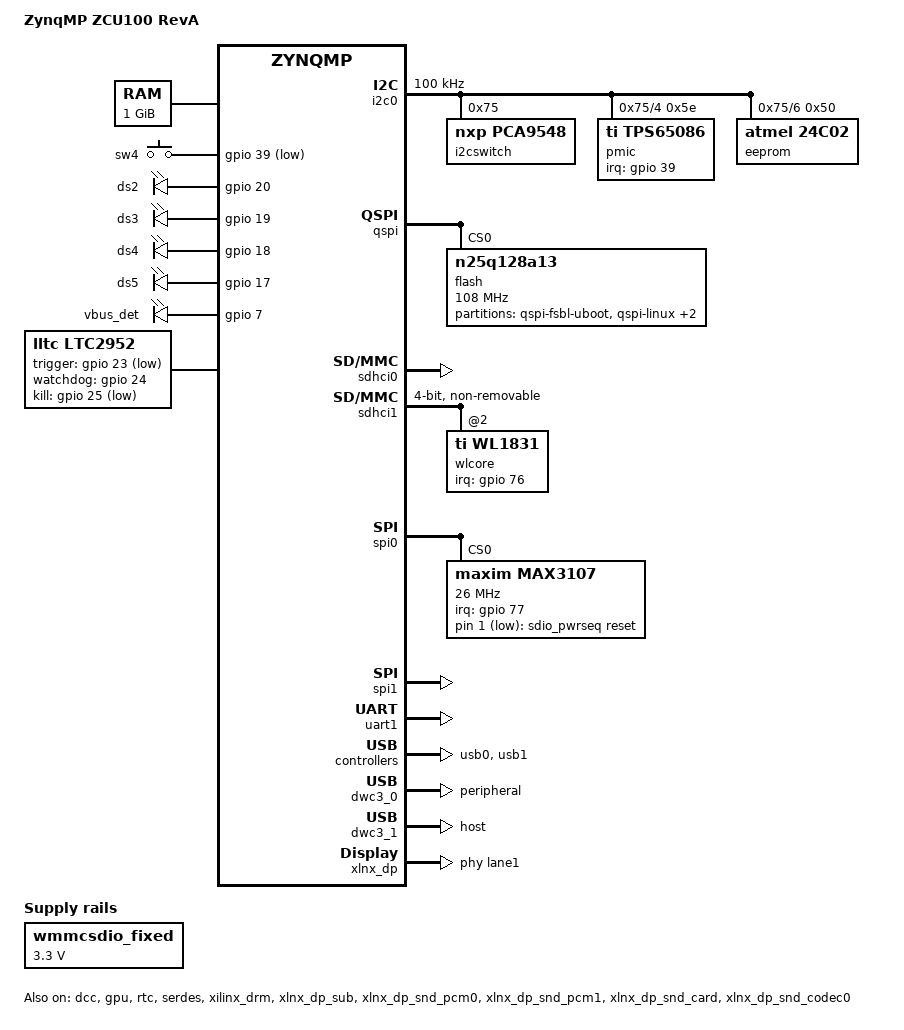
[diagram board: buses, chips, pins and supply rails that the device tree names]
/*
 * dts file for Xilinx ZynqMP ZCU100
 *
 * (C) Copyright 2016, Xilinx, Inc.
 *
 * Michal Simek <michal.simek@xilinx.com>
 * Nathalie Chan King Choy <nathalie@xilinx.com>
 *
 * SPDX-License-Identifier:	GPL-2.0+
 */

/dts-v1/;

#include "zynqmp.dtsi"
#include "zynqmp-clk-ccf.dtsi"
#include <dt-bindings/interrupt-controller/irq.h>
#include <dt-bindings/gpio/gpio.h>
#include <dt-bindings/phy/phy.h>

/ {
	model = "ZynqMP ZCU100 RevA";
	compatible = "xlnx,zynqmp-zcu100-revA", "xlnx,zynqmp-zcu100", "xlnx,zynqmp";

	aliases {
		gpio0 = &gpio;
		gpio1 = &max3107;
		i2c0 = &i2c0;
		rtc0 = &rtc;
		serial0 = &uart1;
		serial1 = &max3107;
		serial2 = &dcc;
		spi0 = &qspi;
		spi1 = &spi0;
		spi2 = &spi1;
		usb0 = &usb0;
		usb1 = &usb1;
		mmc0 = &sdhci0;
		mmc1 = &sdhci1;
	};

	chosen {
		bootargs = "earlycon";
		stdout-path = "serial0:115200n8";
	};

	memory@0 {
		device_type = "memory";
		reg = <0x0 0x0 0x0 0x40000000>;
	};

	gpio-keys {
		compatible = "gpio-keys";
		#address-cells = <1>;
		#size-cells = <0>;
		autorepeat;
		sw4 {
			label = "sw4";
			gpios = <&gpio 39 GPIO_ACTIVE_LOW>; /* shared with pmic IRQ */ /* uboot: gpio input 39 */
			linux,code = <108>; /* down */
			gpio-key,wakeup;
			autorepeat;
		};
	};

	leds {
		compatible = "gpio-leds";
		ds2 {
			label = "ds2";
			gpios = <&gpio 20 GPIO_ACTIVE_HIGH>; /* uboot: gpio toggle 20 */
			linux,default-trigger = "heartbeat";
		};

		ds3 {
			label = "ds3";
			gpios = <&gpio 19 GPIO_ACTIVE_HIGH>;
			linux,default-trigger = "phy0tx"; /* WLAN tx */
			default-state = "off";
		};

		ds4 {
			label = "ds4";
			gpios = <&gpio 18 GPIO_ACTIVE_HIGH>;
			linux,default-trigger = "phy0rx"; /* WLAN rx */
			default-state = "off";
		};

		ds5 {
			label = "ds5";
			gpios = <&gpio 17 GPIO_ACTIVE_HIGH>;
		};

		/* FIXME this is not correct - used fixed-regulator for it */
		vbus_det { /* U5 USB5744  VBUS detection via MIO7 */
			label = "vbus_det";
			gpios = <&gpio 7 GPIO_ACTIVE_HIGH>;
			default-state = "on";
		};
	};

	clk3_6: clk3_6 { /* for spi uart max3107 */
		compatible = "fixed-clock";
		#clock-cells = <0>;
		clock-frequency = <3600000>;
	};

	ltc2952: ltc2952 { /* U7 */
		compatible = "lltc,ltc2952";
		trigger-gpios = <&gpio 23 GPIO_ACTIVE_LOW>; /* INT line - input */
		watchdog-gpios = <&gpio 24 GPIO_ACTIVE_HIGH>; /* FIXME Bogus - set it up to max3107 */
		kill-gpios = <&gpio 25 GPIO_ACTIVE_LOW>; /* KILL signal - output */
	};

	wmmcsdio_fixed: fixedregulator-mmcsdio {
		compatible = "regulator-fixed";
		regulator-name = "wmmcsdio_fixed";
		regulator-min-microvolt = <3300000>;
		regulator-max-microvolt = <3300000>;
		regulator-always-on;
		regulator-boot-on;
	};

	sdio_pwrseq: sdio_pwrseq {
		compatible = "mmc-pwrseq-simple";
		reset-gpios = <&max3107 1 GPIO_ACTIVE_LOW>; /* WIFI_EN */
	};
};

&dcc {
	status = "okay";
};

&gpio {
	status = "okay";
};

&gpu {
	status = "okay";
};

&i2c0 {
	status = "okay";
	clock-frequency = <100000>;
	i2cswitch@75 { /* u11 */
		compatible = "nxp,pca9548";
		#address-cells = <1>;
		#size-cells = <0>;
		reg = <0x75>;
		i2csw_0: i2c@0 { /* i2c mw 75 0 1 */
			#address-cells = <1>;
			#size-cells = <0>;
			reg = <0>;
			/*
			 * LSEXP_I2C0
			 */
		};
		i2csw_1: i2c@1 { /* i2c mw 75 0 2 */
			#address-cells = <1>;
			#size-cells = <0>;
			reg = <1>;
			/*
			 * LSEXP_I2C1
			 */
		};
		i2csw_2: i2c@2 { /* i2c mw 75 0 4 */
			#address-cells = <1>;
			#size-cells = <0>;
			reg = <2>;
			/*
			 * HSEXP_I2C2
			 */
		};
		i2csw_3: i2c@3 { /* i2c mw 75 0 8 */
			#address-cells = <1>;
			#size-cells = <0>;
			reg = <3>;
			/*
			 * HSEXP_I2C3
			 */
		};
		i2csw_4: i2c@4 { /* i2c mw 75 0 10 */
			#address-cells = <1>;
			#size-cells = <0>;
			reg = <0x4>;

			/* Comment it out because will be pre-programmed
			   at the factory */

			pmic: tps65086x@5e { // Custom TI PMIC u33
				compatible = "ti,tps65086";
				reg = <0x5e>;
				interrupt-parent = <&gpio>;
				interrupts = <39 GPIO_ACTIVE_LOW>; /* shared with pmic IRQ */
				#gpio-cells = <2>;
				gpio-controller;

/*
				sys-supply = <&some_reg>;
				// spec 12V

				buck1 5V0
				buck2 PSINTLP (no idea)
				buck3 VCC_PSDDR 1V1
				buck4 3V3
				buck5 1V2
				buck6 VCC_PSAUX 1V8

				vin-sm0-supply = <&some_reg>;
				vin-sm1-supply = <&some_reg>;
				vin-sm2-supply = <&some_reg>;
				vinldo01-supply = <...>;
				vinldo23-supply = <...>;
				vinldo4-supply = <...>;
				vinldo678-supply = <...>;
				vinldo9-supply = <...>;

				regulators {
					sys_reg: sys {
					        regulator-name = "vdd_sys";
					        regulator-boot-on;
					        regulator-always-on;
					};

					sm0_reg: sm0 {
					        regulator-min-microvolt = < 725000>;
					        regulator-max-microvolt = <1500000>;
					        regulator-boot-on;
					        regulator-always-on;
					};

					sm1_reg: sm1 {
					        regulator-min-microvolt = < 725000>;
					        regulator-max-microvolt = <1500000>;
					        regulator-boot-on;
					        regulator-always-on;
					};

					sm2_reg: sm2 {
					        regulator-min-microvolt = <3000000>;
					        regulator-max-microvolt = <4550000>;
					        regulator-boot-on;
					        regulator-always-on;
					};

					ldo0_reg: ldo0 {
					        regulator-name = "PCIE CLK";
					        regulator-min-microvolt = <3300000>;
					        regulator-max-microvolt = <3300000>;
					};

					ldo1_reg: ldo1 {
					        regulator-min-microvolt = < 725000>;
					        regulator-max-microvolt = <1500000>;
					};

					ldo2_reg: ldo2 {
					        regulator-min-microvolt = < 725000>;
					        regulator-max-microvolt = <1500000>;
					};

					ldo3_reg: ldo3 {
					        regulator-min-microvolt = <1250000>;
					        regulator-max-microvolt = <3300000>;
					};

					ldo4_reg: ldo4 {
					        regulator-min-microvolt = <1700000>;
					        regulator-max-microvolt = <2475000>;
					};

					ldo5_reg: ldo5 {
					        regulator-min-microvolt = <1250000>;
					        regulator-max-microvolt = <3300000>;
					};

					ldo6_reg: ldo6 {
					        regulator-min-microvolt = <1250000>;
					        regulator-max-microvolt = <3300000>;
					};

					ldo7_reg: ldo7 {
					        regulator-min-microvolt = <1250000>;
					        regulator-max-microvolt = <3300000>;
					};

					ldo8_reg: ldo8 {
					        regulator-min-microvolt = <1250000>;
					        regulator-max-microvolt = <3300000>;
					};

					ldo9_reg: ldo9 {
					        regulator-min-microvolt = <1250000>;
					        regulator-max-microvolt = <3300000>;
					};

				// FIXME look at this one
					ldo_rtc {
						regulator-name = "vdd_rtc_out,vdd_cell";
						regulator-min-microvolt = <3300000>;
						regulator-max-microvolt = <3300000>;
						regulator-always-on;
					};
				};
				*/
			};
		};
		i2csw_5: i2c@5 { /* i2c mw 75 0 20 */
			#address-cells = <1>;
			#size-cells = <0>;
			reg = <5>;
			/*
			 * SYSMON
			 */
		};
		i2csw_6: i2c@6 { /* i2c mw 75 0 40 */
			#address-cells = <1>;
			#size-cells = <0>;
			reg = <6>;
			/*
			 * EEPROM with globally unique ID (will provide MAC address)
			 */
			eeprom@50 { /* u35 - 24aa02E48T */
				compatible = "atmel,24c02"; /* 8 blocks 50-57 - works */
				reg = <0x50>; /* low 3 bits: don't care */
			};
		};
		i2csw_7: i2c@7 { /* i2c mw 75 0 80 */
			#address-cells = <1>;
			#size-cells = <0>;
			reg = <7>;
			/*
			 * usb5744 - U5
			 * 100kHz - this is default freq for us
			 */
			/* FIXME 0x2c 0x2d - disabled because of SMBUS */
		};
	};
};

&qspi {
	status = "okay"; /* This device may be DNP for cost savings */
	flash@0 { /* single x4 - 16 MB flash at U13 */
		compatible = "n25q128a13", "jedec,spi-nor";
		#address-cells = <1>;
		#size-cells = <1>;
		reg = <0x0>;
		spi-tx-bus-width = <1>;
		spi-rx-bus-width = <4>;
		spi-max-frequency = <108000000>; /* Based on DC1 spec */
		partition@qspi-fsbl-uboot { /* for testing purpose */
			label = "qspi-fsbl-uboot";
			reg = <0x0 0x100000>;
		};
		partition@qspi-linux { /* for testing purpose */
			label = "qspi-linux";
			reg = <0x100000 0x500000>;
		};
		partition@qspi-device-tree { /* for testing purpose */
			label = "qspi-device-tree";
			reg = <0x600000 0x20000>;
		};
		partition@qspi-rootfs { /* for testing purpose */
			label = "qspi-rootfs";
			reg = <0x620000 0x9E0000>;
		};
	};
};

&rtc {
	status = "okay";
};

/* SD0 only supports 3.3V, no level shifter */
&sdhci0 {
	status = "okay";
	no-1-8-v;
	broken-cd; /* CD has to be enabled by default */
	disable-wp;
	xlnx,mio_bank = <0>;
};

&sdhci1 {
	status = "okay";
	bus-width = <0x4>;
	xlnx,mio_bank = <0>;
	non-removable;
	disable-wp;
	cap-power-off-card;
	mmc-pwrseq = <&sdio_pwrseq>;
	max-frequency = <16000000>;
	vqmmc-supply = <&wmmcsdio_fixed>;
	#address-cells = <1>;
	#size-cells = <0>;
	wlcore: wlcore@2 {
		compatible = "ti,wl1831";
		reg = <2>;
		interrupt-parent = <&gpio>;
		interrupts = <76 IRQ_TYPE_EDGE_RISING>; /* MIO76 WLAN_IRQ 1V8 */
	};
};

&serdes {
	status = "okay";
};

&spi0 {
	status = "okay";
	max3107: max3107@0 { /* I'm assuming no offset...? */
		compatible = "maxim,max3107";
		spi-max-frequency = <26000000>;
		reg = <0>;
		interrupt-parent = <&gpio>;
		interrupts = <77 IRQ_TYPE_LEVEL_LOW>;
		clocks = <&clk3_6>;
		clock-names = "osc";
		gpio-controller;
		#gpio-cells = <2>;
	};
};

&spi1 { /* High Speed connector */
	status = "okay";
};

&uart1 {
	status = "okay";
};

/* ULPI SMSC USB3320 */
&usb0 {
	status = "okay";
};

&dwc3_0 {
	status = "okay";
	dr_mode = "peripheral";
/*	phy-names = "usb3-phy";
	phys = <&lane2 PHY_TYPE_USB3 0 0 26000000>; */
	maximum-speed = "high-speed"; /* super-speed */
};

/* ULPI SMSC USB3320 */
&usb1 {
	status = "okay";
};

&dwc3_1 {
	status = "okay";
	dr_mode = "host";
/*	phy-names = "usb3-phy";
	phys = <&lane3 PHY_TYPE_USB3 1 0 26000000>; */
	maximum-speed = "high-speed"; /* super-speed */
};

&xilinx_drm {
	status = "okay";
};

&xlnx_dp {
	status = "okay";
	phy-names = "dp-phy0", "dp-phy1";
	phys = <&lane1 PHY_TYPE_DP 0 1 27000000>,
	       <&lane0 PHY_TYPE_DP 1 1 27000000>;
};

&xlnx_dp_sub {
	status = "okay";
};

&xlnx_dp_snd_pcm0 {
	status = "okay";
};

&xlnx_dp_snd_pcm1 {
	status = "okay";
};

&xlnx_dp_snd_card {
	status = "okay";
};

&xlnx_dp_snd_codec0 {
	status = "okay";
};

&xlnx_dpdma {
	status = "okay";
};
